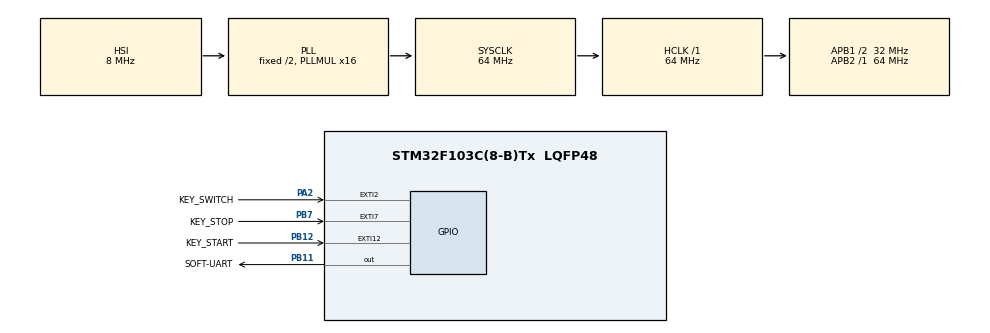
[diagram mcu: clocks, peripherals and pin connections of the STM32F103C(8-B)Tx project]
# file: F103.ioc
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Mcu.Family=STM32F1
Mcu.Name=STM32F103C(8-B)Tx
Mcu.Package=LQFP48
NVIC.EXTI15_10_IRQn=true\:1\:0\:true\:false\:true\:true\:true\:true
NVIC.EXTI2_IRQn=true\:1\:0\:true\:false\:true\:true\:true\:true
NVIC.EXTI9_5_IRQn=true\:1\:0\:true\:false\:true\:true\:true\:true
NVIC.PriorityGroup=NVIC_PRIORITYGROUP_4
PA13.Mode=Serial_Wire
PA13.Signal=SYS_JTMS-SWDIO
PA14.Mode=Serial_Wire
PA14.Signal=SYS_JTCK-SWCLK
PA2.GPIO_Label=KEY_SWITCH
PA2.GPIO_ModeDefaultEXTI=GPIO_MODE_IT_FALLING
PA2.GPIO_PuPd=GPIO_PULLUP
PA2.Signal=GPXTI2
PB11.GPIO_Label=SOFT-UART
PB11.PinState=GPIO_PIN_SET
PB11.Signal=GPIO_Output
PB12.GPIO_Label=KEY_START
PB12.GPIO_ModeDefaultEXTI=GPIO_MODE_IT_FALLING
PB12.GPIO_PuPd=GPIO_PULLUP
PB12.Signal=GPXTI12
PB7.GPIO_Label=KEY_STOP
PB7.GPIO_ModeDefaultEXTI=GPIO_MODE_IT_FALLING
PB7.GPIO_PuPd=GPIO_PULLUP
PB7.Signal=GPXTI7
PC14-OSC32_IN.Mode=LSE-External-Oscillator
PC14-OSC32_IN.Signal=RCC_OSC32_IN
PC15-OSC32_OUT.Mode=LSE-External-Oscillator
PC15-OSC32_OUT.Signal=RCC_OSC32_OUT
PD0-OSC_IN.Mode=HSE-External-Oscillator
PD0-OSC_IN.Signal=RCC_OSC_IN
PD1-OSC_OUT.Mode=HSE-External-Oscillator
PD1-OSC_OUT.Signal=RCC_OSC_OUT
ProjectManager.HeapSize=0x200
ProjectManager.StackSize=0x400
ProjectManager.TargetToolchain=MDK-ARM V5.32
RCC.AHBFreq_Value=64000000
RCC.APB1CLKDivider=RCC_HCLK_DIV2
RCC.APB1Freq_Value=32000000
RCC.APB1TimFreq_Value=64000000
RCC.APB2Freq_Value=64000000
RCC.APB2TimFreq_Value=64000000
RCC.HCLKFreq_Value=64000000
RCC.PLLMUL=RCC_PLL_MUL16
RCC.SYSCLKFreq_VALUE=64000000
RCC.SYSCLKSource=RCC_SYSCLKSOURCE_PLLCLK
RCC.USBFreq_Value=64000000
board=custom

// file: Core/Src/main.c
/* USER CODE BEGIN Header */
/**
软件串口发送实现21e的数字编码

软件串口为PB11，开始发送按键为PB12，结束发送按键为PB7，这两个按键设置为外部中断.
切换数据按键PA2，这三个按键都是输入低电平触发。

开始按键按下后，先发送起始数据包，然后循环发送编码数字的数据包，按下结束按键后停止循环，并且发送一个结束数据包。
软件串口的最高速率为1000bit/s。

  ******************************************************************************
  * @file           : main.c
  * @brief          : Main program body
  ******************************************************************************
  * @attention
  *
  * Copyright (c) 2025 STMicroelectronics.
  * All rights reserved.
  *
  * This software is licensed under terms that can be found in the LICENSE file
  * in the root directory of this software component.
  * If no LICENSE file comes with this software, it is provided AS-IS.
  *
  ******************************************************************************
  */
/* USER CODE END Header */
#include "main.h"
#include "gpio.h"

/* USER CODE BEGIN Includes */
#include "string.h"
/* USER CODE END Includes */

/* USER CODE BEGIN PV */
uint8_t receiveData[50]={0};
extern uint16_t size=0;
#define test_len 3//如果定义为5，但实际只有3个元素，那么数据为0的字节也会发送过去
uint8_t testData[ test_len ] = {0x01,0x65,0x13};

#define start0_len 1
uint8_t start0_buffer[start0_len]={0xAA};//每个数据包的起始帧

#define start_len 2
uint8_t start_buffer[start_len]={0xc8,0xc8};//传输开始数据帧

#define data_len 2
uint8_t data_buffer[data_len]={0x12,0x34};//编码数据数据帧

#define stop_len 2
uint8_t stop_buffer[stop_len]={0xc9,0xc9};//传输结束数据帧

uint16_t key_start=0;
uint16_t key_stop=0;

/* USER CODE END PV */

void SystemClock_Config(void);

/* USER CODE BEGIN 0 */

//阻塞式软件串口方式，最高bit率：1000bit/s（hal——delay函数的最小延时为1ms）。
void SoftwareUART_Transmit(GPIO_TypeDef* txPort, uint16_t txPin,
                          uint8_t* data, uint16_t length, uint16_t bitDelayMs)
{
    // 确保HAL库已初始化
    if(txPort == NULL || data == NULL || length == 0) return;

//    // 计算半位延时(用于更精确的时序)
//    uint16_t halfBitDelay = bitDelayMs / 2;
//    我改
    for(uint16_t i = 0; i < length; i++)
    {
        uint8_t byte = data[i];

        // 发送起始位(低电平)
        HAL_GPIO_WritePin(txPort, txPin, GPIO_PIN_RESET);
        HAL_Delay(bitDelayMs-1);

        // 发送8位数据(LSB first)
        for(uint8_t bit = 0; bit < 8; bit++)
        {
            if(byte & (1 << bit))
            {
                HAL_GPIO_WritePin(txPort, txPin, GPIO_PIN_SET);
            }
            else
            {
                HAL_GPIO_WritePin(txPort, txPin, GPIO_PIN_RESET);
            }
            HAL_Delay(bitDelayMs-1);
        }

        // 发送停止位(高电平)
        HAL_GPIO_WritePin(txPort, txPin, GPIO_PIN_SET);
        HAL_Delay(bitDelayMs-1);
    }
}

/* USER CODE END 0 */

int main(void)
{

  /* MCU Configuration--------------------------------------------------------*/

  /* Reset of all peripherals, Initializes the Flash interface and the Systick. */
  HAL_Init();

  /* Configure the system clock */
  SystemClock_Config();

  /* Initialize all configured peripherals */
  MX_GPIO_Init();

  /* Infinite loop */
  /* USER CODE BEGIN WHILE */
  while (1)
  {
		if(key_start==1)//按下PB12开始按键
		 {

			 key_start=0;
			 SoftwareUART_Transmit(SOFT_UART_GPIO_Port, SOFT_UART_Pin,
                          start0_buffer,start0_len,10);//发送数据包起始帧
			SoftwareUART_Transmit(SOFT_UART_GPIO_Port, SOFT_UART_Pin,
                          start_buffer,start_len,10);//发送传输开始数据帧

		while(1)//循环发送数据帧
		{
			HAL_Delay(1000);

			SoftwareUART_Transmit(SOFT_UART_GPIO_Port, SOFT_UART_Pin,
                          start0_buffer,start0_len,10);//发送数据包起始帧
			SoftwareUART_Transmit(SOFT_UART_GPIO_Port, SOFT_UART_Pin,
                          data_buffer,data_len,10);//发送编码数据数据帧
			if(key_stop==1)//按下PB7停止按键
			{
				key_start=0;
				key_stop=0;
				HAL_Delay(1000);
				SoftwareUART_Transmit(SOFT_UART_GPIO_Port, SOFT_UART_Pin,
                          start0_buffer,start0_len,10);//发送数据包起始帧
				SoftwareUART_Transmit(SOFT_UART_GPIO_Port, SOFT_UART_Pin,
                          stop_buffer,stop_len,10);//发送传输结束数据帧
			break;
			}
		}

		 }//PB11为串口发送
    /* USER CODE END WHILE */

  }
}

void SystemClock_Config(void)
{
  RCC_OscInitTypeDef RCC_OscInitStruct = {0};
  RCC_ClkInitTypeDef RCC_ClkInitStruct = {0};

  /** Initializes the RCC Oscillators according to the specified parameters
  * in the RCC_OscInitTypeDef structure.
  */
  RCC_OscInitStruct.OscillatorType = RCC_OSCILLATORTYPE_HSI;
  RCC_OscInitStruct.HSIState = RCC_HSI_ON;
  RCC_OscInitStruct.HSICalibrationValue = RCC_HSICALIBRATION_DEFAULT;
  RCC_OscInitStruct.PLL.PLLState = RCC_PLL_ON;
  RCC_OscInitStruct.PLL.PLLSource = RCC_PLLSOURCE_HSI_DIV2;
  RCC_OscInitStruct.PLL.PLLMUL = RCC_PLL_MUL16;
  if (HAL_RCC_OscConfig(&RCC_OscInitStruct) != HAL_OK)
  {
    Error_Handler();
  }

  /** Initializes the CPU, AHB and APB buses clocks
  */
  RCC_ClkInitStruct.ClockType = RCC_CLOCKTYPE_HCLK|RCC_CLOCKTYPE_SYSCLK
                              |RCC_CLOCKTYPE_PCLK1|RCC_CLOCKTYPE_PCLK2;
  RCC_ClkInitStruct.SYSCLKSource = RCC_SYSCLKSOURCE_PLLCLK;
  RCC_ClkInitStruct.AHBCLKDivider = RCC_SYSCLK_DIV1;
  RCC_ClkInitStruct.APB1CLKDivider = RCC_HCLK_DIV2;
  RCC_ClkInitStruct.APB2CLKDivider = RCC_HCLK_DIV1;

  if (HAL_RCC_ClockConfig(&RCC_ClkInitStruct, FLASH_LATENCY_2) != HAL_OK)
  {
    Error_Handler();
  }
}

void Error_Handler(void)
{
  __disable_irq();
  while (1)
  {
  }
}
